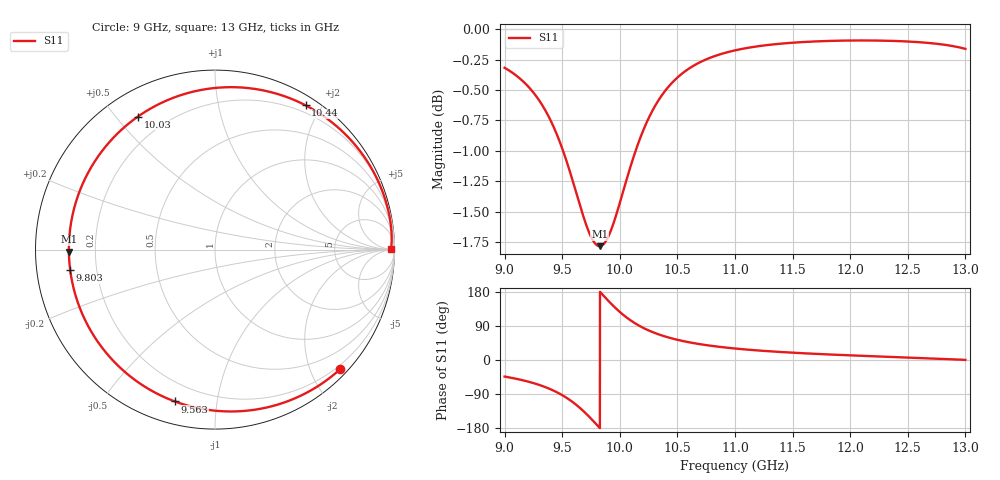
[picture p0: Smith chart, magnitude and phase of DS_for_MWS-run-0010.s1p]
! TOUCHSTONE file generated by CST DESIGN STUDIO
! Date and time: Tue Feb  4 18:12:31 2025
! Project name: C:\Work\MatlabApps\UnitCellOptimizationMatlab\CST\unitcell.cst
! Tree item: Tasks\Sweep1\SPara1\S-Parameters
! Header version: 2024
! Port assignment regex: !\s*Touchstone port\s*([0-9]+)\s*=\s*(CST MWS port|CST DES external port|CST DES block port)\s*(.+)\s* \(\"(.*)\"\)(\s*mode\s*([0-9]+))?.*
! Touchstone port assignment:
! Touchstone port 1 = CST DES external port 1 ("")
# GHz S MA R 50
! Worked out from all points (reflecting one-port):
!   4001 points, 9 GHz to 13 GHz, reference 50 ohm
!   lowest |S11| = -1.8 dB at 9.825 GHz (marker M1), VSWR 9.77, Z = 5.12 - j0.369 ohm
!   phase of S11 starts at -44 deg and turns -316 deg over the sweep
!   S11 on the Smith chart (normalised r, x): 9 GHz: 0.13, -2.49; 9.563 GHz: 0.11, -0.76; 9.803 GHz: 0.10, -0.07; 10.03 GHz: 0.10, +0.57; 10.44 GHz: 0.11, +1.80; 13 GHz: open
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9  0.9643 -43.7
9.145  0.9534 -52.5
9.277  0.9383 -63.4
9.391  0.919 -76.2
9.5  0.8933 -92.7
9.563  0.875 -104.9
9.623  0.8562 -118.6
9.68  0.8386 -133.6
9.746  0.8222 -153.3
9.803  0.8149 -171.8
9.825  0.8142 -179.1
9.864  0.8163 167.9
9.904  0.8224 155.0
9.953  0.8342 140.0
10  0.8483 126.8
10.026  0.8566 120.1
10.1  0.8802 103.3
10.185  0.9042 87.7
10.307  0.9302 71.0
10.441  0.9493 57.8
10.5  0.9554 53.3
10.602  0.9637 46.7
10.717  0.9704 40.8
11  0.9803 30.3
11.5  0.9875 19.3
12  0.9895 12.3
12.5  0.9886 6.6
13  0.9817 0.3
